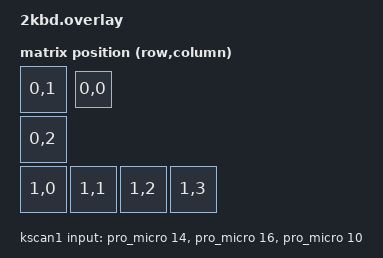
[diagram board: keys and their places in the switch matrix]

#include <dt-bindings/zmk/matrix_transform.h>
#include <physical_layouts.dtsi>

&adc {
    #io-channel-cells = <1>;
    #address-cells = <1>;
    #size-cells = <0>;
	status = "okay";

    channel@5 {
        reg = <5>;
        zephyr,input-positive = <NRF_SAADC_AIN5>;
        zephyr,gain = "ADC_GAIN_1_6";
        zephyr,reference = "ADC_REF_INTERNAL";
        zephyr,acquisition-time = <ADC_ACQ_TIME_DEFAULT>;
        zephyr,resolution = <12>;
        zephyr,oversampling = <0>;
    };

    channel@7 {
        reg = <7>;
        zephyr,input-positive = <NRF_SAADC_AIN7>;
        zephyr,gain = "ADC_GAIN_1_6";
        zephyr,reference = "ADC_REF_INTERNAL";
        zephyr,acquisition-time = <ADC_ACQ_TIME_DEFAULT>;
        zephyr,resolution = <12>;
        zephyr,oversampling = <0>;
    };
};

/ {
    chosen {
      zmk,physical-layout = &default_layout;
    };

    kscan0: kscan_composite {
        compatible = "zmk,kscan-composite";
        rows = <2>;
        columns = <4>;

        // Include the direct driver
        direct {
            kscan = <&kscan1>;
        };

        // Include the direct GPIO driver...
        direct_two {
            kscan = <&kscan2>;
            row-offset = <1>; // ...and shift it to not overlap
        };
    };

    kscan1: kscan_direct {
        compatible = "zmk,kscan-gpio-direct";
        wakeup-source;
        input-gpios
            = 
            <&pro_micro 14 (GPIO_ACTIVE_LOW | GPIO_PULL_UP)>,
            <&pro_micro 16 (GPIO_ACTIVE_LOW | GPIO_PULL_UP)>,
            <&pro_micro 10 (GPIO_ACTIVE_LOW | GPIO_PULL_UP)>;
    };

    kscan2: kscan_joystick {
        compatible = "zmk,kscan-joystick";
        poll-period-ms = <4>;  /* 250Hz */
        idle-period-ms = <50>; /* 20Hz */
        angle-overlap = <30>;
        /* do not use a second threshold with bad quality joysticks */
        /* thresholds = [0A 78]; */
        status = "okay";
        wakeup-source;
        io-channels = <&adc 5>, <&adc 7>;
        io-channel-names = "x-axis", "y-axis";
    };


    default_transform: matrix_transform {
        compatible = "zmk,matrix-transform";
        rows = <2>;
        columns = <4>;
        // ┌───┬───┐
        // │ 1 │ 2 │ 
        // ├───┼───│
        // │ 3 │ 4 │ 
        // └───────┘
        map = <
            RC(0,0) RC(0,1) RC(0,2)
            RC(1,0) RC(1,1) RC(1,2) RC(1,3) 
        >;
    };

    
    default_layout: physical_layout0 {
        compatible = "zmk,physical-layout";
        display-name = "Default";

        transform = <&default_transform>;
        kscan = <&kscan0>;

        keys  //                     w   h    x    y     rot    rx    ry
            = <&key_physical_attrs  80  80  110   10       0     0     0>
            , <&key_physical_attrs 100 100    0    0       0     0     0>
            , <&key_physical_attrs 100 100    0  100       0     0     0>
            , <&key_physical_attrs 100 100    0  200       0     0     0>
            , <&key_physical_attrs 100 100  100  200       0     0     0>
            , <&key_physical_attrs 100 100  200  200       0     0     0>
            , <&key_physical_attrs 100 100  300  200       0     0     0>
            ;
    };

   
};

